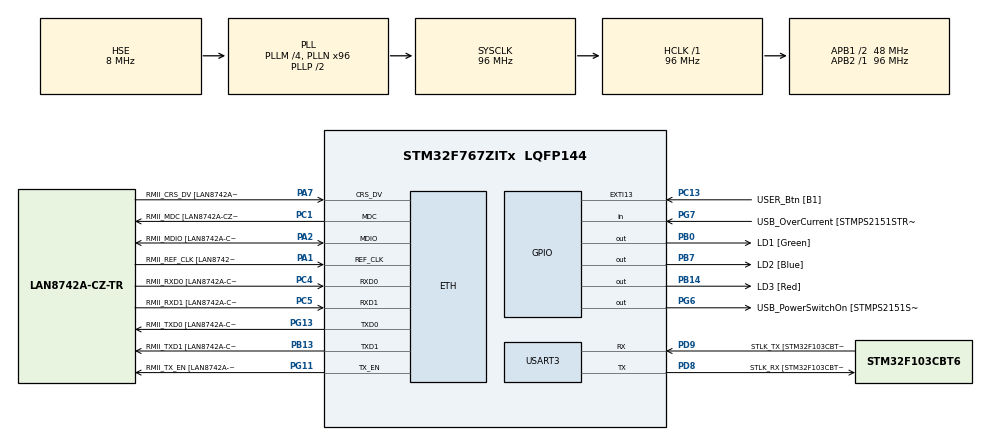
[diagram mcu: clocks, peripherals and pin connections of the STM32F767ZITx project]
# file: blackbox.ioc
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Dma.Request0=USART3_RX
Dma.USART3_RX.0.Direction=DMA_PERIPH_TO_MEMORY
Dma.USART3_RX.0.FIFOMode=DMA_FIFOMODE_DISABLE
Dma.USART3_RX.0.Instance=DMA1_Stream1
Dma.USART3_RX.0.MemDataAlignment=DMA_MDATAALIGN_BYTE
Dma.USART3_RX.0.MemInc=DMA_MINC_ENABLE
Dma.USART3_RX.0.Mode=DMA_NORMAL
Dma.USART3_RX.0.PeriphDataAlignment=DMA_PDATAALIGN_BYTE
Dma.USART3_RX.0.PeriphInc=DMA_PINC_DISABLE
Dma.USART3_RX.0.Priority=DMA_PRIORITY_LOW
ETH.MediaInterface=HAL_ETH_RMII_MODE
ETH.PHY_Name=LAN8742A_PHY_ADDRESS
ETH.PHY_Value=0
ETH.PhyAddress=0
LWIP.BSP.number=1
LWIP.GATEWAY_ADDRESS=192.168.000.001
LWIP.IP_ADDRESS=192.168.000.123
LWIP.LWIP_DHCP=0
LWIP.MEM_SIZE=10*1024
LWIP.NETMASK_ADDRESS=255.255.255.000
LWIP.Version=v2.1.2_Cube
LWIP0.BSP.STBoard=false
LWIP0.BSP.api=BSP_COMPONENT_DRIVER
LWIP0.BSP.component=LAN8742
LWIP0.BSP.instance=LAN8742
LWIP0.BSP.name=Driver_PHY
LWIP0.BSP.semaphore=S_LAN8742
LWIP0.BSP.solution=LAN8742
Mcu.Family=STM32F7
Mcu.Name=STM32F767ZITx
Mcu.Package=LQFP144
NVIC.DMA1_Stream1_IRQn=true\:0\:0\:false\:false\:true\:false\:true\:true
NVIC.PriorityGroup=NVIC_PRIORITYGROUP_4
PA1.GPIO_Label=RMII_REF_CLK [LAN8742A-CZ-TR_REFCLK0]
PA1.Mode=RMII
PA1.Signal=ETH_REF_CLK
PA13.GPIO_Label=TMS
PA13.Mode=Serial_Wire
PA13.Signal=SYS_JTMS-SWDIO
PA14.GPIO_Label=TCK
PA14.Mode=Serial_Wire
PA14.Signal=SYS_JTCK-SWCLK
PA2.GPIO_Label=RMII_MDIO [LAN8742A-CZ-TR_MDIO]
PA2.Mode=RMII
PA2.Signal=ETH_MDIO
PA7.GPIO_Label=RMII_CRS_DV [LAN8742A-CZ-TR_CRS_DV]
PA7.Mode=RMII
PA7.Signal=ETH_CRS_DV
PB0.GPIO_Label=LD1 [Green]
PB0.Signal=GPIO_Output
PB13.GPIO_Label=RMII_TXD1 [LAN8742A-CZ-TR_TXD1]
PB13.Mode=RMII
PB13.Signal=ETH_TXD1
PB14.GPIO_Label=LD3 [Red]
PB14.Signal=GPIO_Output
PB3.GPIO_Label=SWO
PB3.Signal=SYS_JTDO-SWO
PB7.GPIO_Label=LD2 [Blue]
PB7.Signal=GPIO_Output
PC1.GPIO_Label=RMII_MDC [LAN8742A-CZ-TR_MDC]
PC1.Mode=RMII
PC1.Signal=ETH_MDC
PC13.GPIO_Label=USER_Btn [B1]
PC13.Signal=GPXTI13
PC14/OSC32_IN.Mode=LSE-External-Oscillator
PC14/OSC32_IN.Signal=RCC_OSC32_IN
PC15/OSC32_OUT.Mode=LSE-External-Oscillator
PC15/OSC32_OUT.Signal=RCC_OSC32_OUT
PC4.GPIO_Label=RMII_RXD0 [LAN8742A-CZ-TR_RXD0]
PC4.Mode=RMII
PC4.Signal=ETH_RXD0
PC5.GPIO_Label=RMII_RXD1 [LAN8742A-CZ-TR_RXD1]
PC5.Mode=RMII
PC5.Signal=ETH_RXD1
PD8.GPIO_Label=STLK_RX [STM32F103CBT6_PA3]
PD8.Mode=Asynchronous
PD8.Signal=USART3_TX
PD9.GPIO_Label=STLK_TX [STM32F103CBT6_PA2]
PD9.Mode=Asynchronous
PD9.Signal=USART3_RX
PG11.GPIO_Label=RMII_TX_EN [LAN8742A-CZ-TR_TXEN]
PG11.Mode=RMII
PG11.Signal=ETH_TX_EN
PG13.GPIO_Label=RMII_TXD0 [LAN8742A-CZ-TR_TXD0]
PG13.Mode=RMII
PG13.Signal=ETH_TXD0
PG6.GPIO_Label=USB_PowerSwitchOn [STMPS2151STR_EN]
PG6.Signal=GPIO_Output
PG7.GPIO_Label=USB_OverCurrent [STMPS2151STR_FAULT]
PG7.Signal=GPIO_Input
PH0/OSC_IN.GPIO_Label=MCO [STM32F103CBT6_PA8]
PH0/OSC_IN.Mode=HSE-External-Clock-Source
PH0/OSC_IN.Signal=RCC_OSC_IN
PH1/OSC_OUT.Mode=HSE-External-Clock-Source
PH1/OSC_OUT.Signal=RCC_OSC_OUT
ProjectManager.HeapSize=0x200
ProjectManager.StackSize=0x400
ProjectManager.TargetToolchain=Makefile
RCC.48MHZClocksFreq_Value=24000000
RCC.AHBFreq_Value=96000000
RCC.APB1CLKDivider=RCC_HCLK_DIV2
RCC.APB1Freq_Value=48000000
RCC.APB1TimFreq_Value=96000000
RCC.APB2Freq_Value=96000000
RCC.APB2TimFreq_Value=96000000
RCC.CortexFreq_Value=96000000
RCC.HCLKFreq_Value=96000000
RCC.HSE_VALUE=8000000
RCC.HSI_VALUE=16000000
RCC.PLLM=4
RCC.PLLMUL=RCC_PLL_MUL9
RCC.PLLN=96
RCC.PLLQ=4
RCC.PLLSourceVirtual=RCC_PLLSOURCE_HSE
RCC.PRESCALERUSB=RCC_USBCLKSOURCE_PLL_DIV1_5
RCC.SYSCLKFreq_VALUE=96000000
RCC.SYSCLKSource=RCC_SYSCLKSOURCE_PLLCLK
RCC.SYSCLKSourceVirtual=RCC_SYSCLKSOURCE_PLLCLK
RCC.USBFreq_Value=48000000
RCC.VCOOutputFreq_Value=192000000
USART3.VirtualMode-Asynchronous=VM_ASYNC
VP_LWIP_VS_Enabled.Mode=Enabled
board=NUCLEO-F767ZI

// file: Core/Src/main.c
/* USER CODE BEGIN Header */
/**
  ******************************************************************************
  * @file           : main.c
  * @brief          : Main program body
  ******************************************************************************
  * @attention
  *
  * Copyright (c) 2023 STMicroelectronics.
  * All rights reserved.
  *
  * This software is licensed under terms that can be found in the LICENSE file
  * in the root directory of this software component.
  * If no LICENSE file comes with this software, it is provided AS-IS.
  *
  ******************************************************************************
  */
/* USER CODE END Header */
#include "main.h"
#include "dma.h"
#include "lwip.h"
#include "usart.h"
#include "gpio.h"

/* USER CODE BEGIN Includes */
#include "pipo/shell.h"
/* USER CODE END Includes */

void SystemClock_Config(void);

/* USER CODE BEGIN 0 */
int __io_putchar(int ch) {
    HAL_UART_Transmit(&huart3, (uint8_t *)&ch, 1, HAL_MAX_DELAY);
    return ch;
}

int __io_getchar(void) {
    uint8_t ch = 0;
    HAL_UART_Receive(&huart3, &ch, 1, HAL_MAX_DELAY);
    return ch;
}

shell_t _shell;
uint8_t _uart;

int _help_cmd(int argc, char **argv) {
    printf("Available commands:\r\n");
    for (int i = 0; i < _shell.commands_size; i++) {
        printf("- %s\r\n", _shell.commands[i].name);
    }
    return 0;
}

int _debug_cmd(int argc, char **argv) {
    printf("Debug command\r\n");
    for (int i = 0; i < argc; i++) {
        printf("argv[%d] = %s\r\n", i, argv[i]);
    }
    return 0;
}

int _clear_cmd(int argc, char **argv) {
    shell_print_escape(SHELL_ESCAPE_CLEAR);
    return 0;
}

shell_command_t _shell_commands[] = {
    {"help", _help_cmd},
    {"debug", _debug_cmd},
    {"clear", _clear_cmd},
};

void HAL_UART_RxCpltCallback(UART_HandleTypeDef *huart) {
    shell_input(&_shell, _uart);
    HAL_UART_Receive_DMA(&huart3, &_uart, 1);
}
/* USER CODE END 0 */

int main(void)
{

  /* MCU Configuration--------------------------------------------------------*/

  /* Reset of all peripherals, Initializes the Flash interface and the Systick. */
  HAL_Init();

  /* Configure the system clock */
  SystemClock_Config();

  /* Initialize all configured peripherals */
  MX_GPIO_Init();
  MX_DMA_Init();
  MX_USART3_UART_Init();
  MX_LWIP_Init();
  /* USER CODE BEGIN 2 */
    shell_init(&_shell);
    _shell.commands      = _shell_commands;
    _shell.commands_size = sizeof(_shell_commands) / sizeof(_shell_commands[0]);

    printf("\r\n~~ piposhell ~~\r\n");
    shell_print_prompt(&_shell);

    HAL_UART_Receive_DMA(&huart3, &_uart, 1);
  /* USER CODE END 2 */

  /* Infinite loop */
    while (1) {

    /* USER CODE BEGIN 3 */
        MX_LWIP_Process();
    }
  /* USER CODE END 3 */
}

void SystemClock_Config(void)
{
  RCC_OscInitTypeDef RCC_OscInitStruct = {0};
  RCC_ClkInitTypeDef RCC_ClkInitStruct = {0};

  /** Configure LSE Drive Capability
  */
  HAL_PWR_EnableBkUpAccess();

  /** Configure the main internal regulator output voltage
  */
  __HAL_RCC_PWR_CLK_ENABLE();
  __HAL_PWR_VOLTAGESCALING_CONFIG(PWR_REGULATOR_VOLTAGE_SCALE3);

  /** Initializes the RCC Oscillators according to the specified parameters
  * in the RCC_OscInitTypeDef structure.
  */
  RCC_OscInitStruct.OscillatorType = RCC_OSCILLATORTYPE_HSE;
  RCC_OscInitStruct.HSEState = RCC_HSE_BYPASS;
  RCC_OscInitStruct.PLL.PLLState = RCC_PLL_ON;
  RCC_OscInitStruct.PLL.PLLSource = RCC_PLLSOURCE_HSE;
  RCC_OscInitStruct.PLL.PLLM = 4;
  RCC_OscInitStruct.PLL.PLLN = 96;
  RCC_OscInitStruct.PLL.PLLP = RCC_PLLP_DIV2;
  RCC_OscInitStruct.PLL.PLLQ = 4;
  RCC_OscInitStruct.PLL.PLLR = 2;
  if (HAL_RCC_OscConfig(&RCC_OscInitStruct) != HAL_OK)
  {
    Error_Handler();
  }

  /** Activate the Over-Drive mode
  */
  if (HAL_PWREx_EnableOverDrive() != HAL_OK)
  {
    Error_Handler();
  }

  /** Initializes the CPU, AHB and APB buses clocks
  */
  RCC_ClkInitStruct.ClockType = RCC_CLOCKTYPE_HCLK|RCC_CLOCKTYPE_SYSCLK
                              |RCC_CLOCKTYPE_PCLK1|RCC_CLOCKTYPE_PCLK2;
  RCC_ClkInitStruct.SYSCLKSource = RCC_SYSCLKSOURCE_PLLCLK;
  RCC_ClkInitStruct.AHBCLKDivider = RCC_SYSCLK_DIV1;
  RCC_ClkInitStruct.APB1CLKDivider = RCC_HCLK_DIV2;
  RCC_ClkInitStruct.APB2CLKDivider = RCC_HCLK_DIV1;

  if (HAL_RCC_ClockConfig(&RCC_ClkInitStruct, FLASH_LATENCY_3) != HAL_OK)
  {
    Error_Handler();
  }
}

void Error_Handler(void)
{
    __disable_irq();
    while (1) {
    }
}

#ifdef  USE_FULL_ASSERT
/**
  * @brief  Reports the name of the source file and the source line number
  *         where the assert_param error has occurred.
  * @param  file: pointer to the source file name
  * @param  line: assert_param error line source number
  * @retval None
  */
void assert_failed(uint8_t *file, uint32_t line)
{
  /* USER CODE BEGIN 6 */
    /* User can add his own implementation to report the file name and line number,
     es: printf("Wrong parameters value: file %s on line %d\r\n", file, line) */
  /* USER CODE END 6 */
}
#endif /* USE_FULL_ASSERT */
